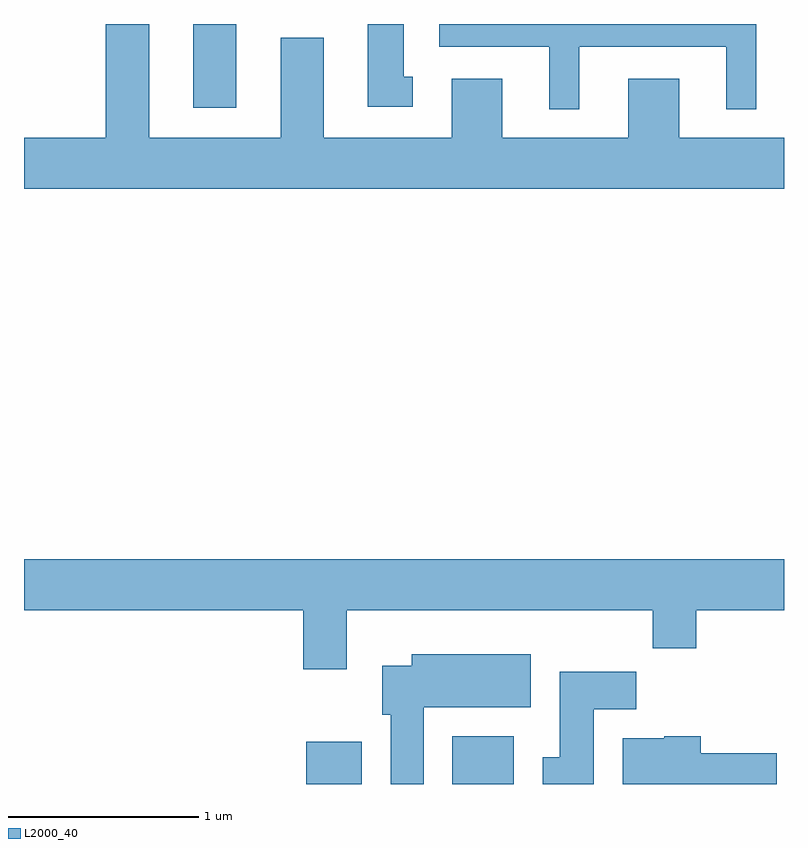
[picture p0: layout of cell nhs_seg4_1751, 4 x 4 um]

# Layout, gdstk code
import gdstk
lib = gdstk.Library(unit=1e-6, precision=1e-09)
def R(c, l, rs):  # rectangles x0, y0, x1, y1
    for r in rs: c.add(gdstk.rectangle(r[:2], r[2:], *l))
def P(c, l, *ps):  # polygons
    for p in ps: c.add(gdstk.Polygon(p, *l))
L2000_40 = (2000, 40)

nhs_seg4_1751 = lib.new_cell('nhs_seg4_1751')
R(nhs_seg4_1751, L2000_40, [(237.096,1355.982,237.389,1356.204), (237.866,1355.982,238.189,1356.234), (236.501,1359.541,236.729,1359.982)])
P(nhs_seg4_1751, L2000_40, [(239.611,1359.384),(239.059,1359.384),(239.059,1359.694),(238.791,1359.694),(238.791,1359.384),(238.129,1359.384),(238.129,1359.694),(237.861,1359.694),(237.861,1359.384),(237.189,1359.384),(237.189,1359.909),(236.961,1359.909),(236.961,1359.384),(236.269,1359.384),(236.269,1359.982),(236.041,1359.982),(236.041,1359.384),(235.611,1359.384),(235.611,1359.116),(239.611,1359.116)],
  [(237.658,1359.704),(237.609,1359.704),(237.609,1359.982),(237.421,1359.982),(237.421,1359.546),(237.658,1359.546)],
  [(238.534,1359.861),(239.306,1359.861),(239.306,1359.533),(239.464,1359.533),(239.464,1359.982),(237.796,1359.982),(237.796,1359.861),(238.376,1359.861),(238.376,1359.533),(238.534,1359.533)],
  [(237.309,1356.896),(238.921,1356.896),(238.921,1356.696),(239.149,1356.696),(239.149,1356.896),(239.611,1356.896),(239.611,1357.164),(235.611,1357.164),(235.611,1356.896),(237.081,1356.896),(237.081,1356.586),(237.309,1356.586)],
  [(237.714,1356.386),(238.279,1356.386),(238.279,1356.664),(237.651,1356.664),(237.651,1356.604),(237.496,1356.604),(237.496,1356.346),(237.541,1356.346),(237.541,1355.982),(237.714,1355.982)],
  [(238.609,1356.376),(238.834,1356.376),(238.834,1356.574),(238.431,1356.574),(238.431,1356.124),(238.341,1356.124),(238.341,1355.982),(238.609,1355.982)],
  [(239.574,1356.144),(239.174,1356.144),(239.174,1356.234),(238.98,1356.234),(238.98,1356.224),(238.761,1356.224),(238.761,1355.982),(239.574,1355.982)])

lib.write_gds('nhs_seg4_1751.gds')
